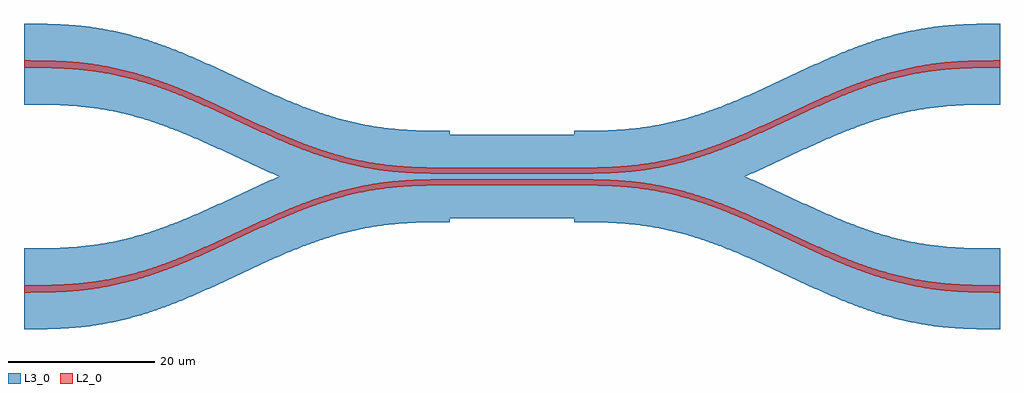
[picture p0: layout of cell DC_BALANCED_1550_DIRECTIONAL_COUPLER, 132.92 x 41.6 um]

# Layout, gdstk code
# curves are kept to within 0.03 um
from math import pi, radians
import gdstk
lib = gdstk.Library(unit=1e-6, precision=1e-09)
def R(c, l, rs):  # rectangles x0, y0, x1, y1
    for r in rs: c.add(gdstk.rectangle(r[:2], r[2:], *l))
def P(c, l, *ps):  # polygons
    for p in ps: c.add(gdstk.Polygon(p, *l))
L2_0 = (2, 0)
L3_0 = (3, 0)

sbend_var_width_5 = lib.new_cell('SBEND_VAR_WIDTH_5')
P(sbend_var_width_5, L2_0, [(0,-0.4),(4.35,-0.353),(7.83,-0.125),(9.57,0.084),(11.31,0.366),(12.76,0.657),(14.5,1.076),(16.24,1.568),(17.98,2.129),(21.46,3.435),(25.23,5.059),(32.19,8.278),(34.8,9.437),(37.99,10.736),(40.89,11.76),(42.92,12.368),(44.95,12.878),(46.98,13.286),(49.01,13.593),(50.75,13.78),(52.78,13.917),(55.1,13.988),(58,14),(58,15),(53.65,14.938),(50.17,14.698),(48.43,14.483),(46.69,14.195),(45.24,13.899),(43.5,13.474),(41.76,12.976),(40.02,12.409),(36.54,11.091),(32.77,9.454),(25.81,6.211),(22.62,4.793),(19.72,3.622),(16.82,2.606),(14.79,2.004),(12.76,1.501),(11.02,1.152),(8.99,0.838),(7.25,0.645),(5.22,0.501),(2.9,0.422),(0,0.4)])
P(sbend_var_width_5, L3_0, [(0,-5.4),(4.35,-5.353),(7.54,-5.153),(10.73,-4.736),(12.18,-4.466),(13.92,-4.072),(17.11,-3.16),(18.85,-2.566),(20.88,-1.798),(24.65,-0.201),(32.19,3.278),(35.38,4.685),(38.86,6.061),(42.05,7.119),(44.08,7.672),(45.82,8.066),(47.56,8.384),(49.3,8.629),(51.04,8.804),(53.07,8.93),(58,9),(58,20),(53.65,19.938),(50.46,19.727),(47.27,19.299),(45.82,19.024),(44.08,18.624),(40.89,17.701),(39.15,17.101),(37.12,16.326),(33.35,14.716),(25.81,11.211),(22.62,9.793),(19.14,8.405),(15.95,7.336),(13.92,6.776),(12.18,6.376),(10.44,6.052),(8.7,5.801),(6.96,5.62),(4.93,5.487),(0,5.4)])

wg_trace_21 = lib.new_cell('WG_TRACE_21')
R(wg_trace_21, L2_0, [(0,-0.4,16.92,0.4)])
P(wg_trace_21, L3_0, [(0,-4.9),(16.92,-4.9),(16.92,-0.4),(16.92,0.4),(16.92,4.9),(0,4.9),(0,0.4),(0,-0.4)])

wg_trace_20 = lib.new_cell('WG_TRACE_20')
R(wg_trace_20, L2_0, [(0,-0.4,16.92,0.4)])
P(wg_trace_20, L3_0, [(0,-4.9),(16.92,-4.9),(16.92,-0.4),(16.92,0.4),(16.92,4.9),(0,4.9),(0,0.4),(0,-0.4)])

dc_balanced_1550_directi = lib.new_cell('DC_BALANCED_1550_DIRECTIONAL_COUPLER')
dc_balanced_1550_directi.add(gdstk.Reference(sbend_var_width_5, (-8.46,-0.8), rotation=pi))
dc_balanced_1550_directi.add(gdstk.Reference(sbend_var_width_5, (8.46,-0.8), x_reflection=True))
dc_balanced_1550_directi.add(gdstk.Reference(sbend_var_width_5, (-8.46,0.8), rotation=pi, x_reflection=True))
dc_balanced_1550_directi.add(gdstk.Reference(sbend_var_width_5, (8.46,0.8)))
dc_balanced_1550_directi.add(gdstk.Reference(wg_trace_21, (-8.46,-0.8)))
dc_balanced_1550_directi.add(gdstk.Reference(wg_trace_20, (-8.46,0.8)))

lib.write_gds('DC_BALANCED_1550_DIRECTIONAL_COUPLER.gds')
